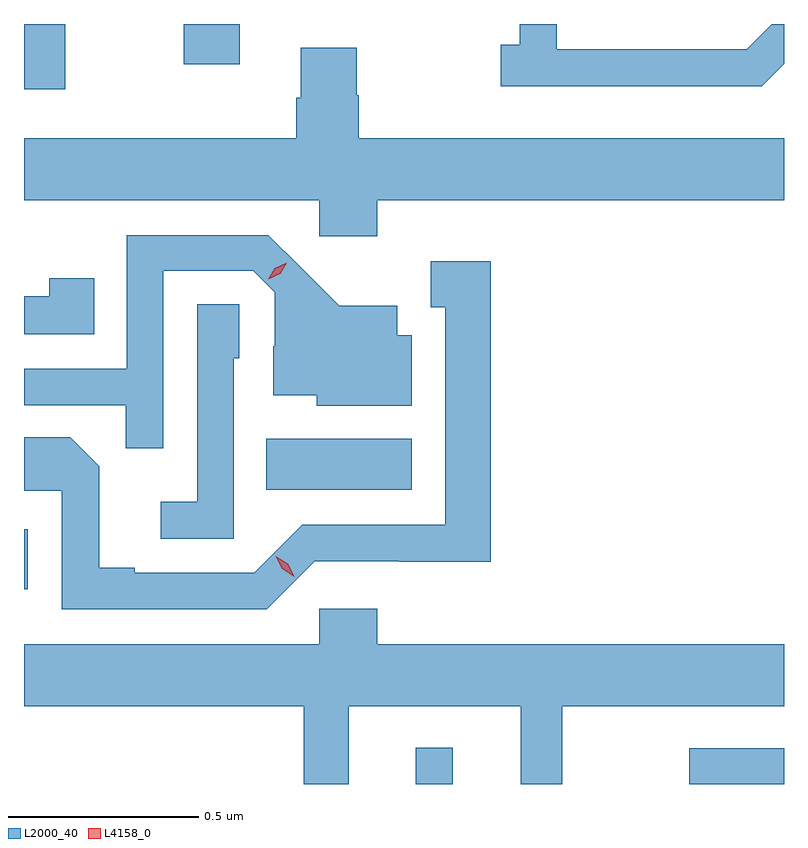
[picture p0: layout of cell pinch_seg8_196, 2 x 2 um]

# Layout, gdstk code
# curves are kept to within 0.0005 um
import gdstk
lib = gdstk.Library(unit=1e-6, precision=1e-09)
def R(c, l, rs):  # rectangles x0, y0, x1, y1
    for r in rs: c.add(gdstk.rectangle(r[:2], r[2:], *l))
def P(c, l, *ps):  # polygons
    for p in ps: c.add(gdstk.Polygon(p, *l))
L2000_40 = (2000, 40)
L4158_0 = (4158, 0)

pinch_seg8_196 = lib.new_cell('pinch_seg8_196')
R(pinch_seg8_196, L2000_40, [(638.15,1157.588,638.247,1157.683), (638.87,1157.588,639.119,1157.682), (637.119,1158.101,637.129,1158.259), (637.756,1158.362,638.14,1158.496), (637.119,1159.416,637.227,1159.588), (637.539,1159.482,637.687,1159.588)])
P(pinch_seg8_196, L2000_40, [(639.119,1159.483),(639.119,1159.588),(639.087,1159.588),(639.087,1159.587),(639.021,1159.521),(638.521,1159.521),(638.521,1159.588),(638.424,1159.588),(638.424,1159.534),(638.373,1159.534),(638.373,1159.424),(639.06,1159.424)],
  [(638.048,1159.124),(639.119,1159.124),(639.119,1159.288),(638,1159.288),(638,1159.401),(637.995,1159.401),(637.995,1159.526),(637.847,1159.526),(637.847,1159.394),(637.835,1159.394),(637.835,1159.288),(637.119,1159.288),(637.119,1159.124),(637.896,1159.124),(637.896,1159.029),(638.048,1159.029)],
  [(637.485,1158.939),(637.722,1158.939),(637.779,1158.882),(637.779,1158.74),(637.775,1158.74),(637.775,1158.611),(637.89,1158.611),(637.89,1158.584),(638.14,1158.584),(638.14,1158.769),(638.101,1158.769),(638.101,1158.847),(637.949,1158.847),(637.762,1159.032),(637.389,1159.032),(637.389,1158.681),(637.119,1158.681),(637.119,1158.585),(637.387,1158.585),(637.387,1158.472),(637.485,1158.472)],
  [(637.884,1158.174),(638.106,1158.174),(638.106,1158.173),(638.347,1158.173),(638.347,1158.964),(638.189,1158.964),(638.189,1158.843),(638.228,1158.843),(638.228,1158.27),(637.851,1158.27),(637.725,1158.144),(637.411,1158.144),(637.411,1158.157),(637.317,1158.157),(637.317,1158.424),(637.241,1158.5),(637.119,1158.5),(637.119,1158.36),(637.218,1158.36),(637.218,1158.048),(637.758,1158.048)],
  [(637.304,1158.919),(637.186,1158.919),(637.186,1158.872),(637.119,1158.872),(637.119,1158.771),(637.304,1158.771)],
  [(637.671,1158.708),(637.686,1158.708),(637.686,1158.851),(637.575,1158.851),(637.575,1158.331),(637.479,1158.331),(637.479,1158.234),(637.671,1158.234)],
  [(637.973,1157.792),(638.426,1157.792),(638.426,1157.588),(638.536,1157.588),(638.536,1157.792),(639.119,1157.792),(639.119,1157.956),(638.048,1157.956),(638.048,1158.049),(637.896,1158.049),(637.896,1157.956),(637.119,1157.956),(637.119,1157.792),(637.855,1157.792),(637.855,1157.588),(637.973,1157.588)])
P(pinch_seg8_196, L4158_0, [(637.83,1158.134),(637.798,1158.154),(637.782,1158.187),(637.782,1158.187),(637.782,1158.187),(637.813,1158.168),(637.83,1158.135),(637.83,1158.134)],
  [(637.762,1158.916),(637.762,1158.916),(637.779,1158.945),(637.81,1158.96),(637.81,1158.96),(637.81,1158.96),(637.793,1158.931),(637.762,1158.916)])

lib.write_gds('pinch_seg8_196.gds')
